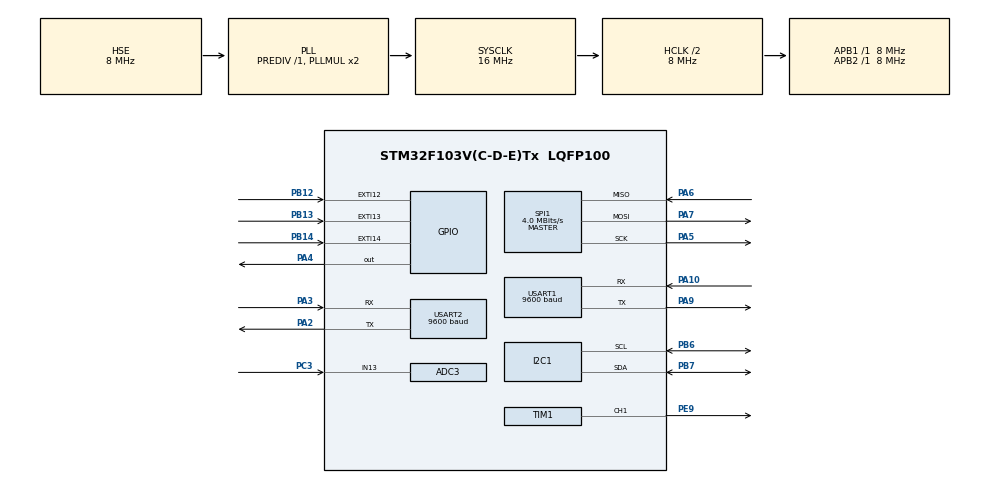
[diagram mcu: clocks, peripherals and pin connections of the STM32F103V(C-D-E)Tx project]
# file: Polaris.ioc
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ADC3.Channel-1\#ChannelRegularConversion=ADC_CHANNEL_13
ADC3.NbrOfConversionFlag=1
ADC3.Rank-1\#ChannelRegularConversion=1
ADC3.SamplingTime-1\#ChannelRegularConversion=ADC_SAMPLETIME_1CYCLE_5
Mcu.Family=STM32F1
Mcu.Name=STM32F103V(C-D-E)Tx
Mcu.Package=LQFP100
NVIC.EXTI15_10_IRQn=true\:0\:0\:false\:false\:true\:true\:true\:true
NVIC.PriorityGroup=NVIC_PRIORITYGROUP_4
NVIC.TIM1_UP_IRQn=true\:0\:0\:false\:false\:true\:true\:true\:true
OSC_IN.Mode=HSE-External-Oscillator
OSC_IN.Signal=RCC_OSC_IN
OSC_OUT.Mode=HSE-External-Oscillator
OSC_OUT.Signal=RCC_OSC_OUT
PA10.Mode=Asynchronous
PA10.Signal=USART1_RX
PA13.Mode=Serial_Wire
PA13.Signal=SYS_JTMS-SWDIO
PA14.Mode=Serial_Wire
PA14.Signal=SYS_JTCK-SWCLK
PA2.Mode=Asynchronous
PA2.Signal=USART2_TX
PA3.Mode=Asynchronous
PA3.Signal=USART2_RX
PA4.Signal=GPIO_Output
PA5.Mode=Full_Duplex_Master
PA5.Signal=SPI1_SCK
PA6.Mode=Full_Duplex_Master
PA6.Signal=SPI1_MISO
PA7.Mode=Full_Duplex_Master
PA7.Signal=SPI1_MOSI
PA9.Mode=Asynchronous
PA9.Signal=USART1_TX
PB12.GPIO_ModeDefaultEXTI=GPIO_MODE_IT_RISING_FALLING
PB12.GPIO_PuPd=GPIO_PULLUP
PB12.Signal=GPXTI12
PB13.GPIO_PuPd=GPIO_PULLUP
PB13.Signal=GPXTI13
PB14.GPIO_PuPd=GPIO_PULLUP
PB14.Signal=GPXTI14
PB6.Mode=I2C
PB6.Signal=I2C1_SCL
PB7.Mode=I2C
PB7.Signal=I2C1_SDA
PC14-OSC32_IN.Mode=LSE-External-Oscillator
PC14-OSC32_IN.Signal=RCC_OSC32_IN
PC15-OSC32_OUT.Mode=LSE-External-Oscillator
PC15-OSC32_OUT.Signal=RCC_OSC32_OUT
PC3.Signal=ADCx_IN13
PE9.Signal=S_TIM1_CH1
ProjectManager.HeapSize=0x200
ProjectManager.StackSize=0x400
ProjectManager.TargetToolchain=CMake
RCC.AHBCLKDivider=RCC_SYSCLK_DIV2
RCC.AHBFreq_Value=8000000
RCC.APB1Freq_Value=8000000
RCC.APB1TimFreq_Value=8000000
RCC.APB2Freq_Value=8000000
RCC.APB2TimFreq_Value=8000000
RCC.HCLKFreq_Value=8000000
RCC.PLLSourceVirtual=RCC_PLLSOURCE_HSE
RCC.SYSCLKFreq_VALUE=16000000
RCC.SYSCLKSource=RCC_SYSCLKSOURCE_PLLCLK
RCC.USBFreq_Value=16000000
SH.ADCx_IN13.0=ADC3_IN13,IN13
SH.S_TIM1_CH1.0=TIM1_CH1,PWM Generation1 CH1
SPI1.CalculateBaudRate=4.0 MBits/s
SPI1.Direction=SPI_DIRECTION_2LINES
SPI1.Mode=SPI_MODE_MASTER
SPI1.VirtualType=VM_MASTER
TIM1.AutoReloadPreload=TIM_AUTORELOAD_PRELOAD_ENABLE
TIM1.Channel-PWM\ Generation1\ CH1=TIM_CHANNEL_1
TIM1.Period=332
TIM1.Prescaler=7
TIM1.Pulse-PWM\ Generation1\ CH1=166
USART1.BaudRate=9600
USART1.VirtualMode=VM_ASYNC
USART2.BaudRate=9600
USART2.VirtualMode=VM_ASYNC
VP_TIM1_VS_ClockSourceINT.Mode=Internal
board=custom

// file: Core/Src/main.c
/* USER CODE BEGIN Header */
/**
 ******************************************************************************
 * @file           : main.c
 * @brief          : Main program body
 ******************************************************************************
 * @attention
 *
 * Copyright (c) 2025 STMicroelectronics.
 * All rights reserved.
 *
 * This software is licensed under terms that can be found in the LICENSE file
 * in the root directory of this software component.
 * If no LICENSE file comes with this software, it is provided AS-IS.
 *
 ******************************************************************************
 */
/* USER CODE END Header */
#include "main.h"

/* USER CODE BEGIN Includes */
#include "helper.h"
#include "lis3mdl_reg.h"
#include "lora_sx1276.h"
#include "screens.h"
#include "stm32f103xe.h"
#include "stm32f1xx_hal.h"
#include "stm32f1xx_hal_gpio.h"
#include "stm32f1xx_hal_tim.h"
#include "u8g2.h"
#include "u8x8.h"
#include <stdio.h>
#include <stdlib.h>
#include <string.h>
/* USER CODE END Includes */

/* USER CODE BEGIN PD */
#define DEBOUNCE_DELAY 10 // in ms, defined by omron
#define SCREEN_TIMEOUT_MS 10000
#define LORA_NSS_GPIO_Port GPIOA
#define LORA_NSS_Pin GPIO_PIN_4
/* USER CODE END PD */

ADC_HandleTypeDef hadc3;

I2C_HandleTypeDef hi2c1;

SPI_HandleTypeDef hspi1;

TIM_HandleTypeDef htim1;

UART_HandleTypeDef huart1;
UART_HandleTypeDef huart2;

/* USER CODE BEGIN PV */
/**
    Input / Output
*/
volatile uint32_t buttonPressStart = 0;
volatile uint8_t buttonIsHeld = 0;   // set when button is pressed (held down)
volatile uint8_t buttonReleased = 0; // flag set when button is released
double holdProgressRatio;
static uint32_t lastDebounceTick = 0;
// lastDebounceTick: this is used for button debounce check in interrupt
uint16_t oledAddress = 0x3C << 1;
ScreenState currentScreen;
static uint8_t powersave = 0;
// powersave: this is a control boolean in main to check whether the screen is
// in powerSave mode set by u8g2.
static uint32_t lastActionTick = 0;
// lastActionTick: this is used to check when the button is last pressed.
SensorState sensorState = {
    .GPSstatus = "V", .LORA_Txing = 0, .battery = "100%%"};

/*
  Menus
*/
char uuid[5];
uint8_t paddleSwitchPressed = 0;
volatile uint8_t currentMenuItem =
    0; // Index of the currently selected menu item

/*
  Track
*/
double distance;
double bearing;

/*
  Buzzer
*/
volatile uint8_t beepActive = 0; // When 1, the timer ISR toggles the output
volatile uint32_t lastBeepTime = 0;
volatile uint32_t beepStartTime = 0;
volatile uint32_t periodicBeepEnabled = 0;

/*
  LoRa
*/
volatile uint8_t loraTransmitRequested = 0;
volatile uint8_t periodicTransmitMode = 0; // false by default
volatile uint32_t lastLoraTxTime = 0;
volatile uint32_t loraTxInterval =
    5000; // Transmit every 5 sec after button hold

/* USER CODE END PV */

void SystemClock_Config(void);
static void MX_GPIO_Init(void);
static void MX_I2C1_Init(void);
static void MX_USART1_UART_Init(void);
static void MX_USART2_UART_Init(void);
static void MX_ADC3_Init(void);
static void MX_TIM1_Init(void);
static void MX_SPI1_Init(void);

/* USER CODE BEGIN 0 */
uint8_t u8x8_gpio_and_delay(u8x8_t *u8x8, uint8_t msg, uint8_t arg_int,
                            void *arg_ptr) {
  switch (msg) {
  case U8X8_MSG_DELAY_MILLI:
    HAL_Delay(arg_int);
    break;
  }
  return 1; // 1 is true
}

uint8_t u8x8_byte_i2c(u8x8_t *u8x8, uint8_t msg, uint8_t arg_int,
                      void *arg_ptr) {
  static uint8_t buffer[32]; /* u8g2/u8x8 will never send more than 32 bytes
        between START_TRANSFER and END_TRANSFER */
  static uint8_t buf_idx;
  uint8_t *data;

  switch (msg) {
  case U8X8_MSG_BYTE_SEND:
    data = (uint8_t *)arg_ptr;
    while (arg_int > 0) {
      buffer[buf_idx++] = *data;
      data++;
      arg_int--;
    }
    break;
  case U8X8_MSG_BYTE_START_TRANSFER:
    buf_idx = 0;
    break;
  case U8X8_MSG_BYTE_END_TRANSFER:
    HAL_I2C_Master_Transmit(&hi2c1, oledAddress, buffer, buf_idx, 1000);
    break;
  default:
    return 0;
  }
  return 1;
}

void screen_idle_check(u8g2_t oled) {
  // SCREEN_TRACK sleep bypass
  if (currentScreen == SCREEN_TRACK || currentScreen == SCREEN_BROADCAST) {
    return;
  }

  uint32_t tickNow = HAL_GetTick();
  if (tickNow - lastActionTick > SCREEN_TIMEOUT_MS) {
    if (powersave == 0) {
      u8g2_SetPowerSave(&oled, 1);
      powersave = 1;
    }
  } else {
    if (powersave == 1) {
      u8g2_SetPowerSave(&oled, 0);
      powersave = 0;
    }
  }
}

void screen_update_idle_tick(void)

{
  // This function set the lastActionTick, so that when interrupt fires, it
  // can wake the screen up through screen_idle_check()
  lastActionTick = HAL_GetTick();
  // Don't set powersave here, screen_idle_check() will handle that.
}

void processGPSsentence(const char *gprmcMessage, SensorState *sensorState) {
  if (strncmp(gprmcMessage, "$GPRMC", 6) == 0) {
    char *token;
    char *messageCopy = strdup(gprmcMessage);
    token = strtok(messageCopy, ",");

    // Time
    token = strtok(NULL, ",");
    if (token != NULL) {
      strncpy(sensorState->time, token, 10);
      sensorState->time[10] = 'Z';
      sensorState->time[11] = '\0';
    }

    // Status
    token = strtok(NULL, ",");
    if (token != NULL) {
      strncpy(sensorState->GPSstatus, token, 1);
      sensorState->GPSstatus[1] = '\0';
    }

    // Latitude
    token = strtok(NULL, ",");
    if (token != NULL) {
      strncpy(sensorState->latitude, token, 10);
      sensorState->latitude[10] = '\0';
    }
    token = strtok(NULL, ",");
    if (token != NULL) {
      strncat(sensorState->latitude, token, 1);
    }

    // Longitude
    token = strtok(NULL, ",");
    if (token != NULL) {
      strncpy(sensorState->longitude, token, 11);
      sensorState->longitude[11] = '\0';
    }
    token = strtok(NULL, ",");
    if (token != NULL) {
      strncat(sensorState->longitude, token, 1);
    }
    convert_rawGPS_to_dd_format(sensorState, sensorState->latitude,
                                sensorState->longitude);

    // Skip speed and course over ground
    token = strtok(NULL, ",");
    token = strtok(NULL, ",");

    // Date
    token = strtok(NULL, ",");
    if (token != NULL) {
      strncpy(sensorState->date, token, 7);
      sensorState->date[7] = '\0';
    }

    // GPS first fix accquired with valid data
    if (sensorState->GPSaccquired == 0 &&
        strcmp(sensorState->GPSstatus, "A") == 0) {
      sensorState->GPSaccquired = 1;
    }

    free(messageCopy);
  }
}

void navigateMenu(int direction) {
  if (direction == 1) { // Down
    currentMenuItem++;
    if (currentMenuItem >= menuItemCount) {
      currentMenuItem = 0; // Wrap around
    }
  } else if (direction == -1) { // Up
    if (currentMenuItem == 0) {
      currentMenuItem = menuItemCount - 1; // Wrap around
    } else {
      currentMenuItem--;
    }
  }
}

static int32_t platform_write(void *handle, uint8_t reg, const uint8_t *bufp,
                              uint16_t len) {
  if (HAL_I2C_Mem_Write((I2C_HandleTypeDef *)handle, LIS3MDL_I2C_ADD_H, reg,
                        I2C_MEMADD_SIZE_8BIT, (uint8_t *)bufp, len,
                        1000) == HAL_OK)
    return 0;
  else
    return -1;
}

static int32_t platform_read(void *handle, uint8_t reg, uint8_t *bufp,
                             uint16_t len) {
  if (HAL_I2C_Mem_Read((I2C_HandleTypeDef *)handle, LIS3MDL_I2C_ADD_H, reg,
                       I2C_MEMADD_SIZE_8BIT, bufp, len, 1000) == HAL_OK)
    return 0;
  else
    return -1;
}

/* USER CODE END 0 */

int main(void) {

  /* MCU Configuration--------------------------------------------------------*/

  /* Reset of all peripherals, Initializes the Flash interface and the Systick.
   */
  HAL_Init();

  /* Configure the system clock */
  SystemClock_Config();

  /* Initialize all configured peripherals */
  MX_GPIO_Init();
  MX_I2C1_Init();
  MX_USART1_UART_Init();
  MX_USART2_UART_Init();
  MX_ADC3_Init();
  MX_TIM1_Init();
  MX_SPI1_Init();
  /* USER CODE BEGIN 2 */

  // Display Setup
  u8g2_t oled;
  u8g2_Setup_ssd1306_i2c_128x32_univision_f(&oled, U8G2_R0, u8x8_byte_i2c,
                                            u8x8_gpio_and_delay);
  u8g2_InitDisplay(&oled);
  u8g2_SetPowerSave(&oled, 0);

  u8g2_ClearDisplay(&oled);
  u8g2_SetFont(&oled, u8g2_font_8x13_mf);

  // GPS
  char gpsBuffer[128];
  uint8_t gpsBufferIndex = 0;
  uint8_t gpsBufferCapturing = 0;
  char gpsLastSentence[128];
  uint8_t tempChar;

  // Menu
  generate_uuid(uuid, 4, get_adc_based_seed(&hadc3));
  addMenuItem("1a2b", "22.321542", "113.943357", "100%%");
  addMenuItem("1a2b", "22.321542", "113.943357", "100%%");
  addMenuItem("1a2b", "22.321542", "113.943357", "100%%");

  // Mag
  stmdev_ctx_t dev_ctx;
  dev_ctx.write_reg = platform_write;
  dev_ctx.read_reg = platform_read;
  dev_ctx.handle = &hi2c1;

  uint8_t whoamI;
  lis3mdl_device_id_get(&dev_ctx, &whoamI);
  if (whoamI != LIS3MDL_ID) {
    Error_Handler();
  }

  lis3mdl_reset_set(&dev_ctx, PROPERTY_ENABLE);
  uint8_t rst;
  do {
    lis3mdl_reset_get(&dev_ctx, &rst);
  } while (rst);

  lis3mdl_block_data_update_set(&dev_ctx, PROPERTY_ENABLE);
  lis3mdl_data_rate_set(&dev_ctx, LIS3MDL_LP_1kHz);
  lis3mdl_full_scale_set(&dev_ctx, LIS3MDL_4_GAUSS);
  lis3mdl_operating_mode_set(&dev_ctx, LIS3MDL_CONTINUOUS_MODE);

  // LoRa
  lora_sx1276 lora;
  uint8_t status = lora_init(&lora, &hspi1, LORA_NSS_GPIO_Port, LORA_NSS_Pin,
                             923LLU * 1000000LLU);
  if (status == LORA_OK) {
    char *msg = "LoRa init OK\r\n";
    HAL_UART_Transmit(&huart1, (uint8_t *)msg, strlen(msg), HAL_MAX_DELAY);
  } else {
    char *msg = "LoRa init FAILED\r\n";
    HAL_UART_Transmit(&huart1, (uint8_t *)msg, strlen(msg), HAL_MAX_DELAY);
  }
  lora_set_crc(&lora, 1);
  lora_mode_standby(&lora);
  lora_mode_receive_continuous(&lora);

  /* USER CODE END 2 */

  /* Infinite loop */
  /* USER CODE BEGIN WHILE */
  while (1) {
    uint32_t now = HAL_GetTick();
    // If the button is currently held down, check for a long press.
    if (buttonIsHeld) {
      uint32_t holdTime = now - buttonPressStart;
      if (holdTime >= 2000 && holdTime < 5000) {
        // Switch to a "hold screen" if not already there.
        if (currentScreen != SCREEN_BROADCAST) {
          currentScreen = SCREEN_BROADCAST;
        }

        // Compute progress after the 2-second delay:
        // The progress bar fills from 0% (at 2 sec) to 100% (at 5 sec).
        // So the effective duration is (holdTime - 2000) capped at 3000 ms.
        uint32_t effectiveHold = holdTime - 2000;
        if (effectiveHold > 3000) {
          effectiveHold = 3000;
        }
        holdProgressRatio = (double)effectiveHold / 3000.0;
      }
      // After a full 5-second hold, automatically return to the main
      // coordinate screen.
      else if (holdTime >= 5000) {
        currentScreen = SCREEN_MAIN_COORD;
        // Optionally, clear the held flag to avoid re-entering this branch.
        buttonIsHeld = 0;

        sensorState.LORA_Txing = 1;

        beepActive = 1;
        beepStartTime = now;
        lastBeepTime = now;
        periodicBeepEnabled = 1;
        HAL_TIM_PWM_Start(&htim1, TIM_CHANNEL_1);
      }
    }

    // If the button was just released:
    if (buttonReleased) {
      uint32_t pressDuration = now - buttonPressStart;
      buttonReleased = 0; // Clear the flag

      // If the press duration was shorter than 2 seconds, it is a short press.
      if (pressDuration < 2000) {
        screen_update_idle_tick();

        if (powersave == 1) {
          // this skips the screen switching below, so that it
          // always shows the main screen when waking up.
          currentScreen = SCREEN_MAIN_COORD;
        }
        // handle menu click
        else if (currentScreen == SCREEN_MENU) {
          currentScreen = SCREEN_TRACK;
        }
        // handle track screen exit
        else if (currentScreen == SCREEN_TRACK) {
          currentScreen = SCREEN_MAIN_COORD;
        } else {
          switch (currentScreen) {
          case SCREEN_MAIN_COORD:
            currentScreen = SCREEN_MAIN_TIME;
            break;
          case SCREEN_MAIN_TIME:
            currentScreen = SCREEN_MAIN_COORD;
            break;
          case SCREEN_BROADCAST:
            currentScreen = SCREEN_MAIN_COORD;
            break;
          default:
            break;
          }
        }
      }
      // if release button between 2-5 seconds, should return to
      // SCREEN_MAIN_COORD
      else if (pressDuration < 5000) {
        screen_update_idle_tick(); // prevent screen going to sleep immediately
                                   // after returning from SCREEN_BROADCAST
        currentScreen = SCREEN_MAIN_COORD;
      }
    }

    // Buzzer
    // PERIODIC BEEP LOGIC (only active after a 5-second hold has enabled it)
    if (periodicBeepEnabled) {
      if (!beepActive && (now - lastBeepTime >= 5000)) {
        beepActive = 1;
        beepStartTime = now;
        lastBeepTime = now;
        HAL_TIM_PWM_Start(&htim1, TIM_CHANNEL_1);
      }
    }

    // BEEPER STOP LOGIC: Stop a beep after it has sounded for 0.5 seconds.
    if (beepActive && (now - beepStartTime >= 500)) {
      beepActive = 0;
      HAL_TIM_PWM_Stop(&htim1, TIM_CHANNEL_1);
    }
    // Buzzer

    screen_idle_check(oled);
    /* USER CODE END WHILE */

    /* USER CODE BEGIN 3 */

    /*
        GPS
    */
    if (HAL_UART_Receive(&huart2, &tempChar, 1, 10) == HAL_OK) {
      if (tempChar == '$') {
        gpsBufferIndex = 0;
        gpsBuffer[gpsBufferIndex++] = tempChar;
        gpsBufferCapturing = 1;
      } else if (gpsBufferCapturing && gpsBufferIndex < sizeof(gpsBuffer) - 1) {
        gpsBuffer[gpsBufferIndex++] = tempChar;

        if (tempChar == '\n') {
          gpsBuffer[gpsBufferIndex] = '\0';
          // Only forward if it's a GPRMC sentence
          if (strncmp(gpsBuffer, "$GPRMC", 6) == 0 ||
              strncmp(gpsBuffer, "$GPGSV", 6) == 0) {
            HAL_UART_Transmit(&huart1, (uint8_t *)gpsBuffer, gpsBufferIndex,
                              HAL_MAX_DELAY); // DEBUG: GPS buffer
            strncpy(gpsLastSentence, gpsBuffer,
                    sizeof(gpsBuffer)); // copy to gpsLastSetence for further
                                        // processing
            gpsLastSentence[sizeof(gpsLastSentence) - 1] = '\0';
            processGPSsentence(gpsLastSentence, &sensorState);
          }
          gpsBufferIndex = 0;
          gpsBufferCapturing = 0;
        }
      }
    }
    //

    /*
      Magnetometer
    */
    if (currentScreen == SCREEN_TRACK) {
      char mag_buf[128] = {0};
      float magHeading = read_mag(mag_buf, sizeof(mag_buf), &dev_ctx);
      snprintf(sensorState.magHeading, sizeof(sensorState.magHeading), "%.2f",
               magHeading);
    }
    /*
      End: Magnetometer
    */

    /*
      LoRa TX
    */
    if (sensorState.LORA_Txing == 1 && sensorState.GPSaccquired == 1) {
      // TODO: lora transmit (uuid, lat, long, bat)
      // Periodically request a transmit:
      if ((now - lastLoraTxTime) >= loraTxInterval) {
        loraTransmitRequested = 1;
        lastLoraTxTime = now;
      }
    }

    if (loraTransmitRequested) {
      loraTransmitRequested = 0;
      char loraTXBuffer[42];
      snprintf(loraTXBuffer, sizeof(loraTXBuffer), ">PLRS,%s,%s,%s,%s", uuid,
               sensorState.latitude, sensorState.longitude,
               sensorState.battery);
      uint8_t txLength = strlen(loraTXBuffer);
      lora_mode_standby(&lora); // 先切到 Standby 模式
      lora_send_packet(&lora, (uint8_t *)loraTXBuffer, txLength);
      lora_mode_receive_continuous(
          &lora); // return to continuous receive after send once
    }
    /*
      End: LoRA TX
    */

    /*
      LoRa RX
    */
    // TODO: Lora RX
    if (lora_is_packet_available(&lora) != 0) {
      // Packet is ready and waiting
      uint8_t RXerror = 0;
      uint8_t loraRXBuffer[42];
      uint8_t packetLength = lora_receive_packet(
          &lora, loraRXBuffer, sizeof(loraRXBuffer), &RXerror);
      if (packetLength > 0 && RXerror == LORA_OK) {
        processLoRaPacket(loraRXBuffer, packetLength);
        HAL_UART_Transmit(&huart1, (uint8_t *)loraRXBuffer,
                          (uint16_t)strlen((char *)loraRXBuffer),
                          HAL_MAX_DELAY);
      }
    }
    /*
      End: LoRA RX
    */

    /*
        Screen Refresh
    */
    if (powersave == 0) {
      screen_draw(&oled, currentScreen, sensorState, currentMenuItem);
    }
  }
  /* USER CODE END 3 */
}

void SystemClock_Config(void) {
  RCC_OscInitTypeDef RCC_OscInitStruct = {0};
  RCC_ClkInitTypeDef RCC_ClkInitStruct = {0};
  RCC_PeriphCLKInitTypeDef PeriphClkInit = {0};

  /** Initializes the RCC Oscillators according to the specified parameters
   * in the RCC_OscInitTypeDef structure.
   */
  RCC_OscInitStruct.OscillatorType = RCC_OSCILLATORTYPE_HSE;
  RCC_OscInitStruct.HSEState = RCC_HSE_ON;
  RCC_OscInitStruct.HSEPredivValue = RCC_HSE_PREDIV_DIV1;
  RCC_OscInitStruct.HSIState = RCC_HSI_ON;
  RCC_OscInitStruct.PLL.PLLState = RCC_PLL_ON;
  RCC_OscInitStruct.PLL.PLLSource = RCC_PLLSOURCE_HSE;
  RCC_OscInitStruct.PLL.PLLMUL = RCC_PLL_MUL2;
  if (HAL_RCC_OscConfig(&RCC_OscInitStruct) != HAL_OK) {
    Error_Handler();
  }

  /** Initializes the CPU, AHB and APB buses clocks
   */
  RCC_ClkInitStruct.ClockType = RCC_CLOCKTYPE_HCLK | RCC_CLOCKTYPE_SYSCLK |
                                RCC_CLOCKTYPE_PCLK1 | RCC_CLOCKTYPE_PCLK2;
  RCC_ClkInitStruct.SYSCLKSource = RCC_SYSCLKSOURCE_PLLCLK;
  RCC_ClkInitStruct.AHBCLKDivider = RCC_SYSCLK_DIV2;
  RCC_ClkInitStruct.APB1CLKDivider = RCC_HCLK_DIV1;
  RCC_ClkInitStruct.APB2CLKDivider = RCC_HCLK_DIV1;

  if (HAL_RCC_ClockConfig(&RCC_ClkInitStruct, FLASH_LATENCY_0) != HAL_OK) {
    Error_Handler();
  }
  PeriphClkInit.PeriphClockSelection = RCC_PERIPHCLK_ADC;
  PeriphClkInit.AdcClockSelection = RCC_ADCPCLK2_DIV2;
  if (HAL_RCCEx_PeriphCLKConfig(&PeriphClkInit) != HAL_OK) {
    Error_Handler();
  }
}

static void MX_ADC3_Init(void) {

  ADC_ChannelConfTypeDef sConfig = {0};

  /** Common config
   */
  hadc3.Instance = ADC3;
  hadc3.Init.ScanConvMode = ADC_SCAN_DISABLE;
  hadc3.Init.ContinuousConvMode = DISABLE;
  hadc3.Init.DiscontinuousConvMode = DISABLE;
  hadc3.Init.ExternalTrigConv = ADC_SOFTWARE_START;
  hadc3.Init.DataAlign = ADC_DATAALIGN_RIGHT;
  hadc3.Init.NbrOfConversion = 1;
  if (HAL_ADC_Init(&hadc3) != HAL_OK) {
    Error_Handler();
  }

  /** Configure Regular Channel
   */
  sConfig.Channel = ADC_CHANNEL_13;
  sConfig.Rank = ADC_REGULAR_RANK_1;
  sConfig.SamplingTime = ADC_SAMPLETIME_1CYCLE_5;
  if (HAL_ADC_ConfigChannel(&hadc3, &sConfig) != HAL_OK) {
    Error_Handler();
  }
}

static void MX_I2C1_Init(void) {

  hi2c1.Instance = I2C1;
  hi2c1.Init.ClockSpeed = 100000;
  hi2c1.Init.DutyCycle = I2C_DUTYCYCLE_2;
  hi2c1.Init.OwnAddress1 = 0;
  hi2c1.Init.AddressingMode = I2C_ADDRESSINGMODE_7BIT;
  hi2c1.Init.DualAddressMode = I2C_DUALADDRESS_DISABLE;
  hi2c1.Init.OwnAddress2 = 0;
  hi2c1.Init.GeneralCallMode = I2C_GENERALCALL_DISABLE;
  hi2c1.Init.NoStretchMode = I2C_NOSTRETCH_DISABLE;
  if (HAL_I2C_Init(&hi2c1) != HAL_OK) {
    Error_Handler();
  }
}

static void MX_SPI1_Init(void) {

  /* SPI1 parameter configuration*/
  hspi1.Instance = SPI1;
  hspi1.Init.Mode = SPI_MODE_MASTER;
  hspi1.Init.Direction = SPI_DIRECTION_2LINES;
  hspi1.Init.DataSize = SPI_DATASIZE_8BIT;
  hspi1.Init.CLKPolarity = SPI_POLARITY_LOW;
  hspi1.Init.CLKPhase = SPI_PHASE_1EDGE;
  hspi1.Init.NSS = SPI_NSS_SOFT;
  hspi1.Init.BaudRatePrescaler = SPI_BAUDRATEPRESCALER_2;
  hspi1.Init.FirstBit = SPI_FIRSTBIT_MSB;
  hspi1.Init.TIMode = SPI_TIMODE_DISABLE;
  hspi1.Init.CRCCalculation = SPI_CRCCALCULATION_DISABLE;
  hspi1.Init.CRCPolynomial = 10;
  if (HAL_SPI_Init(&hspi1) != HAL_OK) {
    Error_Handler();
  }
}

static void MX_TIM1_Init(void) {

  TIM_ClockConfigTypeDef sClockSourceConfig = {0};
  TIM_MasterConfigTypeDef sMasterConfig = {0};
  TIM_OC_InitTypeDef sConfigOC = {0};
  TIM_BreakDeadTimeConfigTypeDef sBreakDeadTimeConfig = {0};

  htim1.Instance = TIM1;
  htim1.Init.Prescaler = 7;
  htim1.Init.CounterMode = TIM_COUNTERMODE_UP;
  htim1.Init.Period = 332;
  htim1.Init.ClockDivision = TIM_CLOCKDIVISION_DIV1;
  htim1.Init.RepetitionCounter = 0;
  htim1.Init.AutoReloadPreload = TIM_AUTORELOAD_PRELOAD_ENABLE;
  if (HAL_TIM_Base_Init(&htim1) != HAL_OK) {
    Error_Handler();
  }
  sClockSourceConfig.ClockSource = TIM_CLOCKSOURCE_INTERNAL;
  if (HAL_TIM_ConfigClockSource(&htim1, &sClockSourceConfig) != HAL_OK) {
    Error_Handler();
  }
  if (HAL_TIM_PWM_Init(&htim1) != HAL_OK) {
    Error_Handler();
  }
  sMasterConfig.MasterOutputTrigger = TIM_TRGO_RESET;
  sMasterConfig.MasterSlaveMode = TIM_MASTERSLAVEMODE_DISABLE;
  if (HAL_TIMEx_MasterConfigSynchronization(&htim1, &sMasterConfig) != HAL_OK) {
    Error_Handler();
  }
  sConfigOC.OCMode = TIM_OCMODE_PWM1;
  sConfigOC.Pulse = 166;
  sConfigOC.OCPolarity = TIM_OCPOLARITY_HIGH;
  sConfigOC.OCNPolarity = TIM_OCNPOLARITY_HIGH;
  sConfigOC.OCFastMode = TIM_OCFAST_DISABLE;
  sConfigOC.OCIdleState = TIM_OCIDLESTATE_RESET;
  sConfigOC.OCNIdleState = TIM_OCNIDLESTATE_RESET;
  if (HAL_TIM_PWM_ConfigChannel(&htim1, &sConfigOC, TIM_CHANNEL_1) != HAL_OK) {
    Error_Handler();
  }
  sBreakDeadTimeConfig.OffStateRunMode = TIM_OSSR_DISABLE;
  sBreakDeadTimeConfig.OffStateIDLEMode = TIM_OSSI_DISABLE;
  sBreakDeadTimeConfig.LockLevel = TIM_LOCKLEVEL_OFF;
  sBreakDeadTimeConfig.DeadTime = 0;
  sBreakDeadTimeConfig.BreakState = TIM_BREAK_DISABLE;
  sBreakDeadTimeConfig.BreakPolarity = TIM_BREAKPOLARITY_HIGH;
  sBreakDeadTimeConfig.AutomaticOutput = TIM_AUTOMATICOUTPUT_DISABLE;
  if (HAL_TIMEx_ConfigBreakDeadTime(&htim1, &sBreakDeadTimeConfig) != HAL_OK) {
    Error_Handler();
  }
  HAL_TIM_MspPostInit(&htim1);
}

static void MX_USART1_UART_Init(void) {

  huart1.Instance = USART1;
  huart1.Init.BaudRate = 9600;
  huart1.Init.WordLength = UART_WORDLENGTH_8B;
  huart1.Init.StopBits = UART_STOPBITS_1;
  huart1.Init.Parity = UART_PARITY_NONE;
  huart1.Init.Mode = UART_MODE_TX_RX;
  huart1.Init.HwFlowCtl = UART_HWCONTROL_NONE;
  huart1.Init.OverSampling = UART_OVERSAMPLING_16;
  if (HAL_UART_Init(&huart1) != HAL_OK) {
    Error_Handler();
  }
}

static void MX_USART2_UART_Init(void) {

  huart2.Instance = USART2;
  huart2.Init.BaudRate = 9600;
  huart2.Init.WordLength = UART_WORDLENGTH_8B;
  huart2.Init.StopBits = UART_STOPBITS_1;
  huart2.Init.Parity = UART_PARITY_NONE;
  huart2.Init.Mode = UART_MODE_TX_RX;
  huart2.Init.HwFlowCtl = UART_HWCONTROL_NONE;
  huart2.Init.OverSampling = UART_OVERSAMPLING_16;
  if (HAL_UART_Init(&huart2) != HAL_OK) {
    Error_Handler();
  }
}

static void MX_GPIO_Init(void) {
  GPIO_InitTypeDef GPIO_InitStruct = {0};

  /* GPIO Ports Clock Enable */
  __HAL_RCC_GPIOC_CLK_ENABLE();
  __HAL_RCC_GPIOA_CLK_ENABLE();
  __HAL_RCC_GPIOE_CLK_ENABLE();
  __HAL_RCC_GPIOB_CLK_ENABLE();

  /*Configure GPIO pin Output Level */
  HAL_GPIO_WritePin(GPIOA, GPIO_PIN_4, GPIO_PIN_RESET);

  /*Configure GPIO pin : PA4 */
  GPIO_InitStruct.Pin = GPIO_PIN_4;
  GPIO_InitStruct.Mode = GPIO_MODE_OUTPUT_PP;
  GPIO_InitStruct.Pull = GPIO_NOPULL;
  GPIO_InitStruct.Speed = GPIO_SPEED_FREQ_LOW;
  HAL_GPIO_Init(GPIOA, &GPIO_InitStruct);

  /*Configure GPIO pin : PB12 */
  GPIO_InitStruct.Pin = GPIO_PIN_12;
  GPIO_InitStruct.Mode = GPIO_MODE_IT_RISING_FALLING;
  GPIO_InitStruct.Pull = GPIO_PULLUP;
  HAL_GPIO_Init(GPIOB, &GPIO_InitStruct);

  /*Configure GPIO pins : PB13 PB14 */
  GPIO_InitStruct.Pin = GPIO_PIN_13 | GPIO_PIN_14;
  GPIO_InitStruct.Mode = GPIO_MODE_IT_RISING;
  GPIO_InitStruct.Pull = GPIO_PULLUP;
  HAL_GPIO_Init(GPIOB, &GPIO_InitStruct);

  /* EXTI interrupt init*/
  HAL_NVIC_SetPriority(EXTI15_10_IRQn, 0, 0);
  HAL_NVIC_EnableIRQ(EXTI15_10_IRQn);

}

/* USER CODE BEGIN 4 */
void HAL_GPIO_EXTI_Callback(uint16_t GPIO_Pin) {
  if (GPIO_Pin == GPIO_PIN_12) {
    uint32_t current_tick = HAL_GetTick();

    if (current_tick - lastDebounceTick > DEBOUNCE_DELAY) {
      lastDebounceTick = current_tick;
      if (HAL_GPIO_ReadPin(GPIOB, GPIO_PIN_12) == GPIO_PIN_RESET) {
        // Button pressed (falling edge)
        buttonPressStart = current_tick;
        buttonIsHeld = 1;
      } else {
        // Button released (rising edge)
        buttonIsHeld = 0;
        buttonReleased = 1;
      }
    }
  } else if (GPIO_Pin == GPIO_PIN_13) {
    uint32_t current_tick = HAL_GetTick();

    if (current_tick - lastDebounceTick > DEBOUNCE_DELAY) {
      lastDebounceTick = current_tick;
      if (!paddleSwitchPressed) {
        paddleSwitchPressed = 1;
        navigateMenu(1);
        currentScreen = SCREEN_MENU;
        screen_update_idle_tick();
      } else {
        paddleSwitchPressed = 0;
      }
    }

  } else if (GPIO_Pin == GPIO_PIN_14) {
    uint32_t current_tick = HAL_GetTick();

    if (current_tick - lastDebounceTick > DEBOUNCE_DELAY) {
      lastDebounceTick = current_tick;
      if (!paddleSwitchPressed) {
        paddleSwitchPressed = 1;
        navigateMenu(-1);
        currentScreen = SCREEN_MENU;
        screen_update_idle_tick();
      } else {
        paddleSwitchPressed = 0;
      }
    }
  }
}
/* USER CODE END 4 */

void Error_Handler(void) {
  /* USER CODE BEGIN Error_Handler_Debug */
  /* User can add his own implementation to report the HAL error return state
   */
  __disable_irq();
  while (1) {
  }
  /* USER CODE END Error_Handler_Debug */
}

#ifdef USE_FULL_ASSERT
/**
 * @brief  Reports the name of the source file and the source line number
 *         where the assert_param error has occurred.
 * @param  file: pointer to the source file name
 * @param  line: assert_param error line source number
 * @retval None
 */
void assert_failed(uint8_t *file, uint32_t line) {
  /* USER CODE BEGIN 6 */
  /* User can add his own implementation to report the file name and line
     number, ex: printf("Wrong parameters value: file %s on line %d\r\n",
     file, line) */
  /* USER CODE END 6 */
}
#endif /* USE_FULL_ASSERT */
